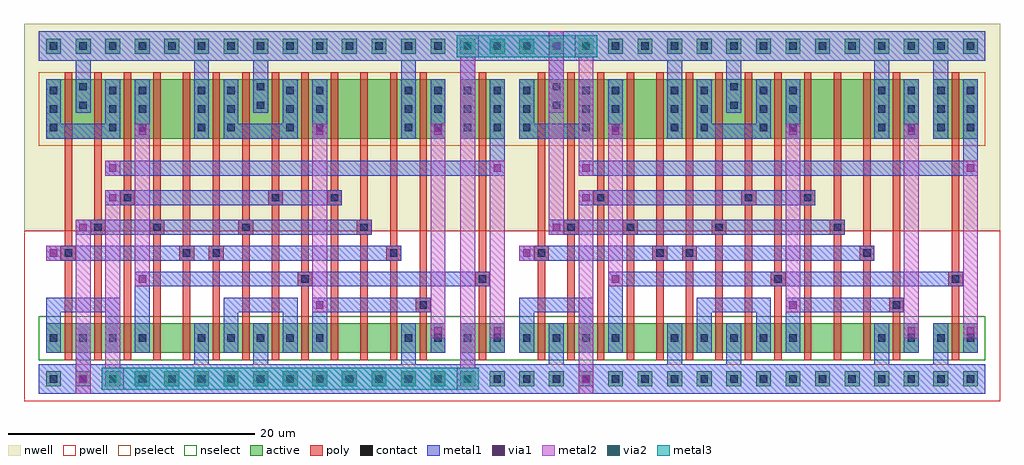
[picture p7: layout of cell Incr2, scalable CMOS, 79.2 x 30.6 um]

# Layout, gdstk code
import gdstk
lib = gdstk.Library(unit=1e-6, precision=1e-09)
def R(c, l, rs):  # rectangles x0, y0, x1, y1
    for r in rs: c.add(gdstk.rectangle(r[:2], r[2:], *l))
def A(c, l, x, y, w, h, nx, ny, dx, dy):  # array of equal rectangles
    R(c, l, [(x+i*dx, y+j*dy, x+i*dx+w, y+j*dy+h) for i in range(nx) for j in range(ny)])
contact = (25, 0)
pwell = (41, 0)
nwell = (42, 0)
active = (43, 0)
pselect = (44, 0)
nselect = (45, 0)
poly = (46, 0)
metal1 = (49, 0)
via1 = (50, 0)
metal2 = (51, 0)
via2 = (61, 0)
metal3 = (62, 0)

fulladder = lib.new_cell('fulladder')
A(fulladder, contact, -0.3, -0.3, 0.6, 0.6, 16, 2, 2.4, 27)
A(fulladder, contact, -0.3, 3, 0.6, 0.6, 4, 1, 2.4, 0)
A(fulladder, contact, 11.7, 3, 0.6, 0.6, 5, 1, 2.4, 0)
A(fulladder, contact, 28.5, 3, 0.6, 0.6, 4, 2, 2.4, 17.1)
A(fulladder, contact, -0.3, 20.1, 0.6, 0.6, 1, 3, 0, 1.5)
A(fulladder, contact, 4.5, 20.1, 0.6, 0.6, 1, 3, 0, 1.5)
A(fulladder, contact, 6.9, 20.1, 0.6, 0.6, 1, 3, 0, 1.5)
A(fulladder, contact, 11.7, 20.1, 0.6, 0.6, 1, 3, 0, 1.5)
A(fulladder, contact, 14.1, 20.1, 0.6, 0.6, 1, 3, 0, 1.5)
A(fulladder, contact, 18.9, 20.1, 0.6, 0.6, 1, 3, 0, 1.5)
A(fulladder, contact, 21.3, 20.1, 0.6, 0.6, 1, 3, 0, 1.5)
A(fulladder, contact, 28.5, 21.6, 0.6, 0.6, 4, 2, 2.4, 1.5)
R(fulladder, contact, [(29.7,5.7,30.3,6.3), (20.1,7.8,20.7,8.4), (34.5,7.8,35.1,8.4), (0.9,9.9,1.5,10.5), (10.5,9.9,11.1,10.5), (12.9,9.9,13.5,10.5), (27.3,9.9,27.9,10.5), (3.3,12,3.9,12.6), (8.1,12,8.7,12.6), (15.3,12,15.9,12.6), (24.9,12,25.5,12.6), (5.7,14.4,6.3,15), (17.7,14.4,18.3,15), (22.5,14.4,23.1,15), (2.1,21.9,2.7,22.5), (16.5,21.9,17.1,22.5), (2.1,23.4,2.7,24), (16.5,23.4,17.1,24)])
A(fulladder, pwell, -1.5, -1.5, 3, 3, 16, 1, 2.4, 0)
A(fulladder, pwell, -2.4, 0.3, 4.8, 6, 4, 1, 2.4, 0)
A(fulladder, pwell, -1.8, 0.3, 6, 6, 13, 1, 2.4, 0)
A(fulladder, pwell, 9.6, 0.3, 4.8, 6, 5, 1, 2.4, 0)
A(fulladder, pwell, 26.4, 0.3, 4.8, 6, 4, 1, 2.4, 0)
A(fulladder, pwell, -2.25, 1.05, 4.65, 4.5, 4, 1, 2.4, 0)
A(fulladder, pwell, 0.15, 1.05, 4.5, 4.5, 13, 1, 2.4, 0)
A(fulladder, pwell, 9.75, 1.05, 4.65, 4.5, 3, 1, 2.4, 0)
R(fulladder, pwell, [(-2.4,-1.8,38.4,12), (-2.4,-1.5,38.4,6.3), (31.8,0.3,37.8,6.3), (16.8,1.05,21.45,5.55), (16.95,1.05,21.6,5.55), (19.35,1.05,24,5.55), (26.55,1.05,31.2,5.55), (31.35,1.05,36,5.55), (33.75,1.05,38.25,5.55)])
A(fulladder, nwell, -1.8, 17.7, 6, 8.4, 13, 1, 2.4, 0)
A(fulladder, nwell, 26.4, 17.7, 4.8, 8.4, 4, 1, 2.4, 0)
A(fulladder, nwell, 4.95, 19.65, 4.5, 4.5, 3, 1, 2.4, 0)
A(fulladder, nwell, 19.35, 19.65, 4.5, 4.5, 4, 1, 2.4, 0)
A(fulladder, nwell, 26.55, 19.65, 4.5, 4.5, 4, 1, 2.4, 0)
A(fulladder, nwell, -1.5, 25.5, 3, 3, 16, 1, 2.4, 0)
R(fulladder, nwell, [(-2.4,12,38.4,28.8), (-2.4,14.1,38.4,24.9), (-2.4,17.7,2.4,26.1), (2.4,17.7,7.2,26.1), (4.8,17.7,9.6,26.1), (9.6,17.7,14.4,26.1), (12,17.7,16.8,26.1), (16.8,17.7,21.6,26.1), (19.2,17.7,24,26.1), (31.8,17.7,37.8,26.1), (-2.25,19.65,2.25,24.15), (2.55,19.65,7.05,24.15), (2.55,19.65,7.05,24.15), (4.95,19.65,9.45,24.15), (9.75,19.65,14.25,24.15), (12.15,19.65,16.65,24.15), (12.15,19.65,16.65,24.15), (19.35,19.65,23.85,24.15), (0,19.8,4.8,26.1), (0.15,19.8,4.65,24.3), (0.15,19.8,4.65,24.3), (14.4,19.8,19.2,26.1), (14.55,19.8,19.05,24.3), (14.55,19.8,19.05,24.3), (16.95,19.95,21.45,24.45), (16.95,19.95,21.45,24.45)])
A(fulladder, active, -0.6, -0.6, 1.2, 1.2, 16, 2, 2.4, 27)
A(fulladder, active, -0.6, 2.1, 1.2, 2.4, 4, 1, 2.4, 0)
A(fulladder, active, 0, 2.1, 2.4, 2.4, 13, 1, 2.4, 0)
A(fulladder, active, 11.4, 2.1, 1.2, 2.4, 5, 1, 2.4, 0)
A(fulladder, active, 28.2, 2.1, 1.2, 2.4, 4, 1, 2.4, 0)
A(fulladder, active, -0.45, 2.85, 1.05, 0.9, 4, 1, 2.4, 0)
A(fulladder, active, 1.95, 2.85, 0.9, 0.9, 13, 1, 2.4, 0)
A(fulladder, active, 11.55, 2.85, 1.05, 0.9, 3, 1, 2.4, 0)
A(fulladder, active, 0, 19.5, 2.4, 4.8, 13, 1, 2.4, 0)
A(fulladder, active, 28.2, 19.5, 1.2, 4.8, 4, 1, 2.4, 0)
A(fulladder, active, 6.75, 21.45, 0.9, 0.9, 3, 1, 2.4, 0)
A(fulladder, active, 21.15, 21.45, 0.9, 0.9, 4, 1, 2.4, 0)
A(fulladder, active, 28.35, 21.45, 0.9, 0.9, 4, 1, 2.4, 0)
R(fulladder, active, [(33.6,2.1,36,4.5), (18.6,2.85,19.65,3.75), (18.75,2.85,19.8,3.75), (21.15,2.85,22.2,3.75), (28.35,2.85,29.4,3.75), (33.15,2.85,34.2,3.75), (35.55,2.85,36.45,3.75), (-0.6,19.5,0.6,24.3), (4.2,19.5,5.4,24.3), (6.6,19.5,7.8,24.3), (11.4,19.5,12.6,24.3), (13.8,19.5,15,24.3), (18.6,19.5,19.8,24.3), (21,19.5,22.2,24.3), (33.6,19.5,36,24.3), (-0.45,21.45,0.45,22.35), (4.35,21.45,5.25,22.35), (4.35,21.45,5.25,22.35), (6.75,21.45,7.65,22.35), (11.55,21.45,12.45,22.35), (13.95,21.45,14.85,22.35), (13.95,21.45,14.85,22.35), (21.15,21.45,22.05,22.35), (1.8,21.6,3,24.3), (1.95,21.6,2.85,22.5), (1.95,21.6,2.85,22.5), (16.2,21.6,17.4,24.3), (16.35,21.6,17.25,22.5), (16.35,21.6,17.25,22.5), (18.75,21.75,19.65,22.65), (18.75,21.75,19.65,22.65)])
A(fulladder, pselect, -1.2, -1.2, 2.4, 2.4, 16, 1, 2.4, 0)
A(fulladder, pselect, -0.6, 18.9, 3.6, 6, 13, 1, 2.4, 0)
A(fulladder, pselect, 27.6, 18.9, 2.4, 6, 4, 1, 2.4, 0)
A(fulladder, pselect, 6.15, 20.85, 2.1, 2.1, 3, 1, 2.4, 0)
A(fulladder, pselect, 20.55, 20.85, 2.1, 2.1, 4, 1, 2.4, 0)
A(fulladder, pselect, 27.75, 20.85, 2.1, 2.1, 4, 1, 2.4, 0)
R(fulladder, pselect, [(-1.2,18.9,1.2,24.9), (3.6,18.9,6,24.9), (6,18.9,8.4,24.9), (10.8,18.9,13.2,24.9), (13.2,18.9,15.6,24.9), (18,18.9,20.4,24.9), (20.4,18.9,22.8,24.9), (33,18.9,36.6,24.9), (-1.05,20.85,1.05,22.95), (3.75,20.85,5.85,22.95), (3.75,20.85,5.85,22.95), (6.15,20.85,8.25,22.95), (10.95,20.85,13.05,22.95), (13.35,20.85,15.45,22.95), (13.35,20.85,15.45,22.95), (20.55,20.85,22.65,22.95), (1.2,21,3.6,24.9), (1.35,21,3.45,23.1), (1.35,21,3.45,23.1), (15.6,21,18,24.9), (15.75,21,17.85,23.1), (15.75,21,17.85,23.1), (18.15,21.15,20.25,23.25), (18.15,21.15,20.25,23.25)])
A(fulladder, nselect, -1.2, 1.5, 2.4, 3.6, 4, 1, 2.4, 0)
A(fulladder, nselect, -0.6, 1.5, 3.6, 3.6, 13, 1, 2.4, 0)
A(fulladder, nselect, 10.8, 1.5, 2.4, 3.6, 5, 1, 2.4, 0)
A(fulladder, nselect, 27.6, 1.5, 2.4, 3.6, 4, 1, 2.4, 0)
A(fulladder, nselect, -1.05, 2.25, 2.25, 2.1, 4, 1, 2.4, 0)
A(fulladder, nselect, 1.35, 2.25, 2.1, 2.1, 13, 1, 2.4, 0)
A(fulladder, nselect, 10.95, 2.25, 2.25, 2.1, 3, 1, 2.4, 0)
A(fulladder, nselect, -1.2, 25.8, 2.4, 2.4, 16, 1, 2.4, 0)
R(fulladder, nselect, [(33,1.5,36.6,5.1), (18,2.25,20.25,4.35), (18.15,2.25,20.4,4.35), (20.55,2.25,22.8,4.35), (27.75,2.25,30,4.35), (32.55,2.25,34.8,4.35), (34.95,2.25,37.05,4.35)])
A(fulladder, poly, 0.9, 1.5, 0.6, 3.6, 13, 1, 2.4, 0)
A(fulladder, poly, 0.9, 18.9, 0.6, 6, 13, 1, 2.4, 0)
R(fulladder, poly, [(34.5,1.5,35.1,5.1), (0.9,4.8,1.5,10.5), (3.3,4.8,3.9,12.6), (5.7,4.8,6.3,15), (8.1,4.8,8.7,12.3), (10.5,4.8,11.1,10.5), (12.9,4.8,13.5,10.5), (15.3,4.8,15.9,12.6), (17.7,4.8,18.3,15), (20.1,4.8,20.7,8.4), (22.5,4.8,23.1,15), (24.9,4.8,25.5,12.6), (27.3,4.8,27.9,10.5), (29.7,4.8,30.3,6.3), (34.5,4.8,35.1,8.4), (29.4,5.4,30.6,6.6), (29.7,5.7,30.45,6.3), (29.7,5.7,30.3,19.2), (19.8,7.5,21,8.7), (34.2,7.5,35.4,8.7), (20.1,7.8,20.85,8.4), (20.1,7.8,20.7,19.2), (34.5,7.8,35.25,8.4), (34.5,7.8,35.1,19.2), (0.6,9.6,1.8,10.8), (10.2,9.6,11.4,10.8), (12.6,9.6,13.8,10.8), (27,9.6,28.2,10.8), (0.9,9.9,1.65,10.5), (0.9,9.9,1.5,19.2), (0.9,9.9,1.5,10.5), (10.35,9.9,11.1,10.5), (10.5,9.9,11.1,19.2), (12.9,9.9,13.65,10.5), (12.9,9.9,13.5,19.2), (12.9,9.9,13.5,10.5), (27.3,9.9,28.05,10.5), (27.3,9.9,27.9,19.2), (3,11.7,4.2,12.9), (7.8,11.7,9,12.9), (8.1,11.7,8.7,19.2), (8.1,11.7,8.7,12.6), (15,11.7,16.2,12.9), (24.6,11.7,25.8,12.9), (3.3,12,4.05,12.6), (3.3,12,3.9,19.2), (3.3,12,3.9,12.6), (15.3,12,16.05,12.6), (15.3,12,15.9,19.2), (24.9,12,25.65,12.6), (24.9,12,25.5,19.2), (5.4,14.1,6.6,15.3), (17.4,14.1,18.6,15.3), (22.2,14.1,23.4,15.3), (5.7,14.4,6.45,15), (5.7,14.4,6.3,19.2), (5.7,14.4,6.3,15), (17.7,14.4,18.45,15), (17.7,14.4,18.3,19.2), (22.5,14.4,23.25,15), (22.5,14.4,23.1,19.2), (34.5,18.9,35.1,24.9)])
A(fulladder, metal1, -0.6, -0.6, 1.2, 1.2, 16, 2, 2.4, 27)
A(fulladder, metal1, 4.2, -0.6, 3.6, 1.2, 13, 1, 2.4, 0)
A(fulladder, metal1, -0.6, 2.1, 1.2, 2.4, 4, 1, 2.4, 0)
A(fulladder, metal1, 11.4, 2.1, 1.2, 2.4, 5, 1, 2.4, 0)
A(fulladder, metal1, 28.2, 2.1, 1.2, 2.4, 4, 1, 2.4, 0)
A(fulladder, metal1, 28.2, 19.5, 1.2, 4.8, 4, 1, 2.4, 0)
A(fulladder, metal1, 4.2, 26.4, 3.6, 1.2, 12, 1, 2.4, 0)
R(fulladder, metal1, [(-1.2,-1.2,3.6,1.2), (-1.2,-1.2,3.6,1.2), (-1.2,-1.2,1.2,1.2), (1.2,-1.2,6,1.2), (1.2,-1.2,13.2,1.2), (10.8,-1.2,18,1.2), (15.6,-1.2,30,1.2), (27.6,-1.2,34.8,1.2), (32.4,-1.2,37.2,1.2), (1.8,-0.6,3,3.3), (11.4,-0.6,12.6,3.3), (16.2,-0.6,17.4,3.3), (28.2,-0.6,29.4,3.3), (33,-0.6,34.2,3.3), (-0.6,2.7,0.6,6.6), (4.2,2.7,5.4,6.6), (13.8,2.7,15,6.6), (18.6,2.7,19.8,6.6), (6.6,3.3,7.8,8.7), (21,3.3,22.2,6.6), (30.6,3.3,31.8,4.5), (30.6,3.3,31.8,4.5), (35.4,3.3,36.6,4.5), (35.4,3.3,36.6,4.5), (-0.6,5.4,5.4,6.6), (13.8,5.4,19.8,6.6), (21,5.4,22.2,6.6), (21,5.4,30.6,6.6), (29.4,5.4,30.6,6.6), (6.6,7.5,7.8,8.7), (6.6,7.5,21,8.7), (19.8,7.5,21,8.7), (19.8,7.5,21,8.7), (19.8,7.5,35.4,8.7), (34.2,7.5,35.4,8.7), (-0.6,9.6,0.6,10.8), (-0.6,9.6,1.8,10.8), (0.6,9.6,1.8,10.8), (0.6,9.6,11.4,10.8), (10.2,9.6,11.4,10.8), (10.2,9.6,11.4,10.8), (10.2,9.6,13.8,10.8), (12.6,9.6,13.8,10.8), (12.6,9.6,13.8,10.8), (12.6,9.6,28.2,10.8), (27,9.6,28.2,10.8), (1.8,11.7,3,12.9), (1.8,11.7,4.2,12.9), (3,11.7,4.2,12.9), (3,11.7,9,12.9), (7.8,11.7,9,12.9), (7.8,11.7,9,12.9), (7.8,11.7,16.2,12.9), (15,11.7,16.2,12.9), (15,11.7,16.2,12.9), (15,11.7,25.8,12.9), (24.6,11.7,25.8,12.9), (4.2,14.1,5.4,15.3), (4.2,14.1,6.6,15.3), (5.4,14.1,6.6,15.3), (5.4,14.1,18.6,15.3), (17.4,14.1,18.6,15.3), (17.4,14.1,18.6,15.3), (17.4,14.1,23.4,15.3), (22.2,14.1,23.4,15.3), (4.2,16.5,5.4,17.7), (4.2,16.5,36.6,17.7), (35.4,16.5,36.6,17.7), (35.4,16.5,36.6,20.7), (-0.6,19.5,5.4,20.7), (-0.6,19.5,0.6,24.3), (-0.6,19.5,0.6,22.5), (4.2,19.5,5.4,24.3), (6.6,19.5,7.8,20.7), (6.6,19.5,7.8,20.7), (6.6,19.5,7.8,24.3), (11.4,19.5,12.6,24.3), (13.8,19.5,19.8,20.7), (13.8,19.5,15,24.3), (13.8,19.5,15,22.5), (18.6,19.5,19.8,24.3), (21,19.5,22.2,20.7), (21,19.5,22.2,20.7), (21,19.5,22.2,24.3), (30.6,19.5,31.8,20.7), (30.6,19.5,31.8,20.7), (1.8,21.6,3,24.3), (16.2,21.6,17.4,24.3), (1.8,23.1,3,27.6), (11.4,23.1,12.6,27.6), (16.2,23.1,17.4,27.6), (28.2,23.1,29.4,27.6), (33,23.1,34.2,27.6), (-1.2,25.8,3.6,28.2), (-1.2,25.8,3.6,28.2), (-1.2,25.8,1.2,28.2), (1.2,25.8,6,28.2), (1.2,25.8,13.2,28.2), (10.8,25.8,18,28.2), (15.6,25.8,30,28.2), (27.6,25.8,34.8,28.2), (32.4,25.8,37.2,28.2), (32.4,25.8,37.2,28.2)])
R(fulladder, via1, [(30.9,3.6,31.5,4.2), (35.7,3.6,36.3,4.2), (21.3,5.7,21.9,6.3), (6.9,7.8,7.5,8.4), (-0.3,9.9,0.3,10.5), (2.1,12,2.7,12.6), (4.5,14.4,5.1,15), (4.5,16.8,5.1,17.4), (35.7,16.8,36.3,17.4), (6.9,19.8,7.5,20.4), (21.3,19.8,21.9,20.4), (30.9,19.8,31.5,20.4)])
R(fulladder, metal2, [(30.6,3.3,31.8,4.5), (30.6,3.3,31.8,20.4), (35.4,3.3,36.6,4.5), (35.4,3.3,36.6,17.7), (21,5.4,22.2,6.6), (21,5.4,22.2,20.4), (6.6,7.5,7.8,8.7), (6.6,7.5,7.8,20.4), (-0.6,9.6,0.6,10.8), (1.8,11.7,3,12.9), (4.2,14.1,5.4,15.3), (4.2,16.5,5.4,17.7), (35.4,16.5,36.6,17.7), (6.6,19.5,7.8,20.7), (21,19.5,22.2,20.7), (30.6,19.5,31.8,20.7)])

incr2 = lib.new_cell('Incr2')
R(incr2, metal1, [(-1.2,-1.2,3.6,1.2), (1.2,-1.2,39.6,1.2), (1.8,-1.2,3,1.2), (37.2,-1.2,44.4,1.2), (42.6,-1.2,43.8,1.2), (-1.2,25.8,39.6,28.2), (37.2,25.8,42,28.2), (40.2,25.8,41.4,28.2)])
R(incr2, via1, [(2.1,-0.3,2.7,0.3), (42.9,-0.3,43.5,0.3), (40.5,26.7,41.1,27.3)])
R(incr2, metal2, [(1.8,-1.2,3,1.2), (42.6,-1.2,43.8,1.2), (3.9,-0.9,5.7,0.9), (32.7,-0.9,34.5,0.9), (1.8,-0.6,3,12.9), (4.2,-0.6,5.4,15), (33,-0.6,34.2,27.6), (42.6,-0.6,43.8,15.3), (40.2,11.7,41.4,27.6), (42.6,16.8,43.8,27.6), (40.2,25.8,41.4,28.2), (32.7,26.1,34.5,27.9), (42.3,26.1,44.1,27.9)])
R(incr2, via2, [(4.5,-0.3,5.1,0.3), (33.3,-0.3,33.9,0.3), (33.3,26.7,33.9,27.3), (42.9,26.7,43.5,27.3)])
R(incr2, metal3, [(3.9,-0.9,5.7,0.9), (3.9,-0.9,34.5,0.9), (32.7,-0.9,34.5,0.9), (32.7,26.1,34.5,27.9), (32.7,26.1,44.1,27.9), (42.3,26.1,44.1,27.9)])
incr2.add(gdstk.Reference(fulladder, (0,0)))
incr2.add(gdstk.Reference(fulladder, (38.4,0)))

lib.write_gds('Incr2.gds')
